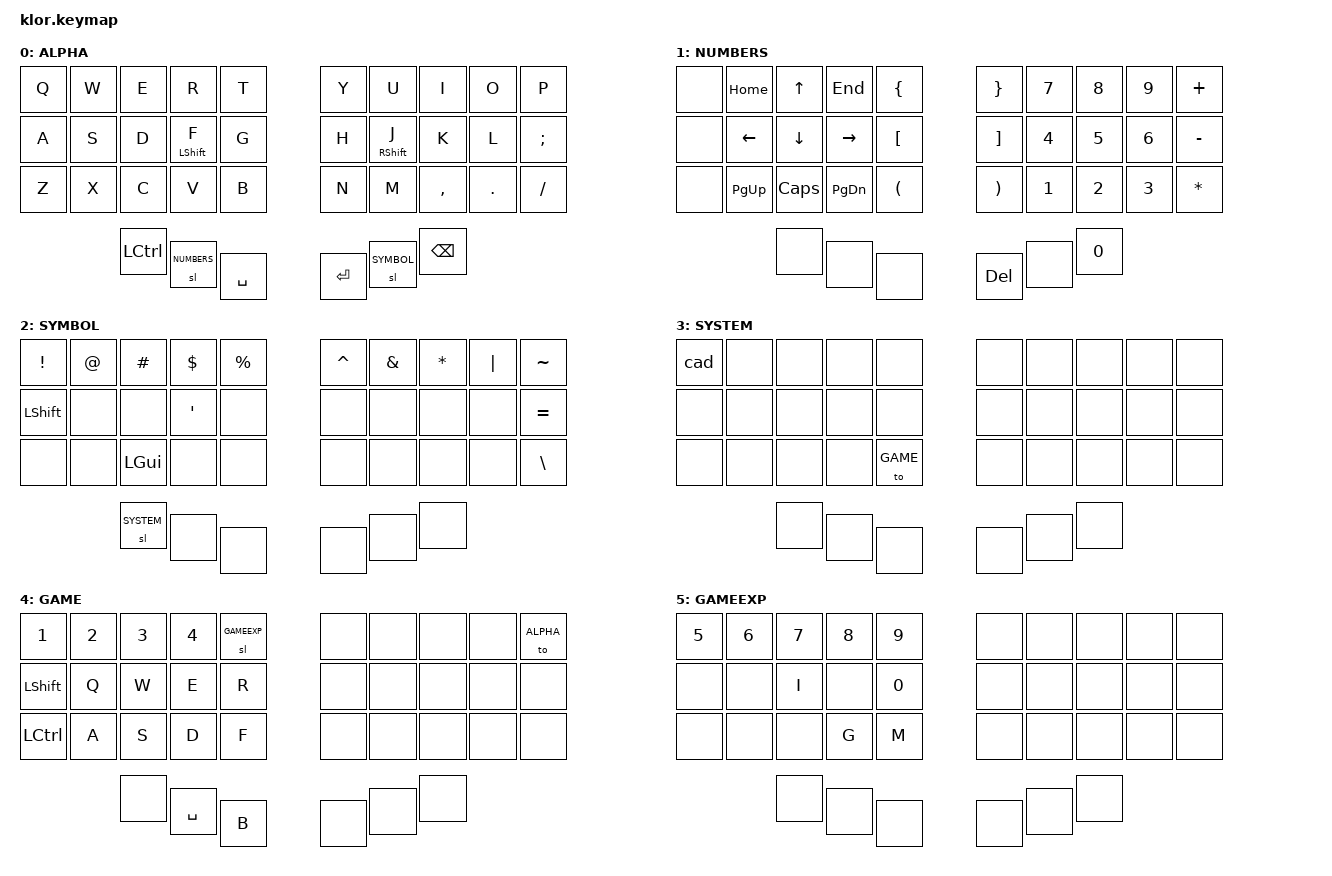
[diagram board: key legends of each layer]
#include <behaviors.dtsi>
#include <dt-bindings/zmk/keys.h>
#include <dt-bindings/zmk/bt.h>
#include <dt-bindings/zmk/outputs.h>

#define ALPHA   0
#define NUMBERS 1
#define SYMBOL  2
#define SYSTEM  3
#define GAME    4
#define GAMEEXP 5

/ {
    behaviors {
        hm: homerow_mods {
            compatible = "zmk,behavior-hold-tap";
            label = "HOMEROW_MODS";
            #binding-cells = <2>;
            tapping-term-ms = <250>;
            quick_tap_ms = <100>;
            flavor = "tap-preferred";
            bindings = <&kp>, <&kp>;
        };
        cad: ctrl_alt_del {
            compatible = "zmk,behavior-macro";
            #binding-cells = <0>;
            bindings = <&macro_press &kp LCTRL &kp LALT>
                     , <&macro_tap &kp DEL>
                     , <&macro_release &kp LCTRL &kp LALT>;
        };
    };

    combos {
        compatible = "zmk,combos";
        combo_esc {
            timeout-ms = <50>;
            key-positions = <0 1>;
            bindings = <&kp ESC>;
        };
    };

    keymap {
        compatible = "zmk,keymap";

// ▄▄▄▄▄▄▄▄▄▄▄▄▄▄▄▄▄▄▄▄▄▄▄▄▄▄▄▄▄▄▄▄▄▄▄▄▄▄▄▄▄▄▄▄▄▄▄▄▄▄▄▄▄▄▄▄▄▄▄▄▄▄▄▄▄▄▄▄▄▄▄▄▄▄▄▄

        alpha_layer {
// ┌───────────────────────────────────────────────────────────┐
display-name = "ALPHA";
// └───────────────────────────────────────────────────────────┘
/*        ┌─────────┬─────────┬─────────┬─────────┬─────────┐                    ┌─────────┬─────────┬─────────┬─────────┬─────────┐
          │    Q    │    W    │    E    │    R    │    T    │                    │    Y    │    U    │    I    │    O    │    P    │
          ├─────────┼─────────┼─────────┼─────────┼─────────┤                    ├─────────┼─────────┼─────────┼─────────┼─────────┤
          │    A    │    S    │    D    │  F/SHF  │    G    │                    │    H    │  J/SHF  │    K    │    L    │    ;    │
          ├─────────┼─────────┼─────────┼─────────┼─────────┤                    ├─────────┼─────────┼─────────┼─────────┼─────────┤
          │    Z    │    X    │    C    │    V    │    B    │                    │    N    │    M    │    ,    │    .    │    /    │
          └─────────┴─────────┴─────────┼─────────┼─────────┼─────────┐          ┌─────────┼─────────┼─────────┼─────────┴─────────┘
                                        │  CTRL   │ NUMBERS │  SPACE  │          │  ENTER  │ SYMBOL  │  BSPC   │
                                        └─────────┴─────────┴─────────┘          └─────────┴─────────┴─────────┘ */
            bindings = <
  &kp Q     &kp W     &kp E     &kp R     &kp T                          &kp Y     &kp U     &kp I     &kp O     &kp P
  &kp A     &kp S     &kp D   &hm LSHFT F &kp G                          &kp H   &hm RSHFT J &kp K     &kp L     &kp SEMI
  &kp Z     &kp X     &kp C     &kp V     &kp B                          &kp N     &kp M     &kp COMMA &kp DOT   &kp FSLH
                      &kp LCTRL &sl NUMBERS &kp SPACE                    &kp RET   &sl SYMBOL &kp BSPC
            >;
        };

// ▄▄▄▄▄▄▄▄▄▄▄▄▄▄▄▄▄▄▄▄▄▄▄▄▄▄▄▄▄▄▄▄▄▄▄▄▄▄▄▄▄▄▄▄▄▄▄▄▄▄▄▄▄▄▄▄▄▄▄▄▄▄▄▄▄▄▄▄▄▄▄▄▄▄▄▄

        numbers_layer {
// ┌───────────────────────────────────────────────────────────┐
display-name = "NUMBERS";
// └───────────────────────────────────────────────────────────┘
/*        ┌─────────┬─────────┬─────────┬─────────┬─────────┐                    ┌─────────┬─────────┬─────────┬─────────┬─────────┐
          │         │  home   │   UP    │   end   │    {    │                    │    }    │    7    │    8    │    9    │    +    │
          ├─────────┼─────────┼─────────┼─────────┼─────────┤                    ├─────────┼─────────┼─────────┼─────────┼─────────┤
          │         │  LEFT   │  DOWN   │  RIGHT  │    [    │                    │    ]    │    4    │    5    │    6    │    -    │
          ├─────────┼─────────┼─────────┼─────────┼─────────┤                    ├─────────┼─────────┼─────────┼─────────┼─────────┤
          │         │  PG UP  │  CAPS   │  PG DN  │    (    │                    │    )    │    1    │    2    │    3    │    *    │
          └─────────┴─────────┴─────────┼─────────┼─────────┼─────────┐          ┌─────────┼─────────┼─────────┼─────────┴─────────┘
                                        │         │         │         │          │   DEL   │    0    │         │
                                        └─────────┴─────────┴─────────┘          └─────────┴─────────┴─────────┘ */
            bindings = <
  &none     &kp HOME  &kp UP    &kp END     &kp LBRC                        &kp RBRC  &kp N7    &kp N8    &kp N9    &kp PLUS
  &none     &kp LEFT  &kp DOWN  &kp RIGHT &kp LBKT                        &kp RBKT  &kp N4    &kp N5    &kp N6    &kp MINUS
  &none     &kp PG_UP &kp CAPS  &kp PG_DN &kp LPAR                        &kp RPAR  &kp N1    &kp N2    &kp N3    &kp ASTRK
                      &none     &none     &none                           &kp DEL   &none    &kp N0
            >;
        };

// ▄▄▄▄▄▄▄▄▄▄▄▄▄▄▄▄▄▄▄▄▄▄▄▄▄▄▄▄▄▄▄▄▄▄▄▄▄▄▄▄▄▄▄▄▄▄▄▄▄▄▄▄▄▄▄▄▄▄▄▄▄▄▄▄▄▄▄▄▄▄▄▄▄▄▄▄

        symbol_layer {
// ┌───────────────────────────────────────────────────────────┐
display-name = "SYMBOL";
// └───────────────────────────────────────────────────────────┘
/*        ┌─────────┬─────────┬─────────┬─────────┬─────────┐                    ┌─────────┬─────────┬─────────┬─────────┬─────────┐
          │    !    │    @    │    #    │    $    │    %    │                    │    ^    │    &    │    *    │    |    │    ~    │
          ├─────────┼─────────┼─────────┼─────────┼─────────┤                    ├─────────┼─────────┼─────────┼─────────┼─────────┤
          │  SHIFT  │         │         │    '    │         │                    │         │         │         │         │    =    │
          ├─────────┼─────────┼─────────┼─────────┼─────────┤                    ├─────────┼─────────┼─────────┼─────────┼─────────┤
          │         │         │ WIN/SUP │         │         │                    │         │         │         │         │    \    │
          └─────────┴─────────┴─────────┼─────────┼─────────┼─────────┐          ┌─────────┼─────────┼─────────┼─────────┴─────────┘
                                        │ SYSTEM  │         │         │          │         │         │         │
                                        └─────────┴─────────┴─────────┘          └─────────┴─────────┴─────────┘ */
            bindings = <
  &kp EXCL  &kp AT    &kp HASH  &kp DLLR  &kp PRCNT                       &kp CARET &kp AMPS  &kp ASTRK &kp PIPE  &kp TILDE
  &kp LSHFT &none     &none     &kp SQT   &none                           &none     &none     &none     &none     &kp EQUAL
  &none     &none     &kp LGUI  &none     &none                           &none     &none     &none     &none     &kp BACKSLASH
                      &sl SYSTEM &none    &none                           &none     &none     &none
            >;
        };

// ▄▄▄▄▄▄▄▄▄▄▄▄▄▄▄▄▄▄▄▄▄▄▄▄▄▄▄▄▄▄▄▄▄▄▄▄▄▄▄▄▄▄▄▄▄▄▄▄▄▄▄▄▄▄▄▄▄▄▄▄▄▄▄▄▄▄▄▄▄▄▄▄▄▄▄▄

        system_layer {
// ┌───────────────────────────────────────────────────────────┐
display-name = "SYSTEM";
// └───────────────────────────────────────────────────────────┘
/*        ┌─────────┬─────────┬─────────┬─────────┬─────────┐                    ┌─────────┬─────────┬─────────┬─────────┬─────────┐
          │   CAD   │         │         │         │         │                    │         │         │         │         │         │
          ├─────────┼─────────┼─────────┼─────────┼─────────┤                    ├─────────┼─────────┼─────────┼─────────┼─────────┤
          │         │         │         │         │         │                    │         │         │         │         │         │
          ├─────────┼─────────┼─────────┼─────────┼─────────┤                    ├─────────┼─────────┼─────────┼─────────┼─────────┤
          │         │         │         │         │  GAME   │                    │         │         │         │         │         │
          └─────────┴─────────┴─────────┼─────────┼─────────┼─────────┐          ┌─────────┼─────────┼─────────┼─────────┴─────────┘
                                        │         │         │         │          │         │         │         │
                                        └─────────┴─────────┴─────────┘          └─────────┴─────────┴─────────┘ */
            bindings = <
  &cad     &none    &none     &none     &none                          &none     &none     &none     &none     &none
  &none    &none    &none     &none     &none                          &none     &none     &none     &none     &none
  &none    &none    &none     &none     &to GAME                       &none     &none     &none     &none     &none
                    &none     &none     &none                          &none     &none     &none
            >;
        };

// ▄▄▄▄▄▄▄▄▄▄▄▄▄▄▄▄▄▄▄▄▄▄▄▄▄▄▄▄▄▄▄▄▄▄▄▄▄▄▄▄▄▄▄▄▄▄▄▄▄▄▄▄▄▄▄▄▄▄▄▄▄▄▄▄▄▄▄▄▄▄▄▄▄▄▄▄

        game_layer {
// ┌───────────────────────────────────────────────────────────┐
display-name = "GAME";
// └───────────────────────────────────────────────────────────┘
/*        ┌─────────┬─────────┬─────────┬─────────┬─────────┐                    ┌─────────┬─────────┬─────────┬─────────┬─────────┐
          │    1    │    2    │    3    │    4    │  GAMEEXP│                    │         │         │         │         │  ALPHA  │
          ├─────────┼─────────┼─────────┼─────────┼─────────┤                    ├─────────┼─────────┼─────────┼─────────┼─────────┤
          │  SHIFT  │    Q    │    W    │    E    │    R    │                    │         │         │         │         │         │
          ├─────────┼─────────┼─────────┼─────────┼─────────┤                    ├─────────┼─────────┼─────────┼─────────┼─────────┤
          │  CTRL   │    A    │    S    │    D    │    F    │                    │         │         │         │         │         │
          └─────────┴─────────┴─────────┼─────────┼─────────┼─────────┐          ┌─────────┼─────────┼─────────┼─────────┴─────────┘
                                        │         │  SPACE  │    B    │          │         │         │         │
                                        └─────────┴─────────┴─────────┘          └─────────┴─────────┴─────────┘ */
            bindings = <
  &kp N1    &kp N2    &kp N3    &kp N4    &sl GAMEEXP                    &none     &none     &none     &none     &to ALPHA
  &kp LSHFT &kp Q     &kp W     &kp E     &kp R                          &none     &none     &none     &none     &none
  &kp LCTRL &kp A     &kp S     &kp D     &kp F                          &none     &none     &none     &none     &none
                      &none     &kp SPACE &kp B                          &none     &none     &none
            >;
        };

// ▄▄▄▄▄▄▄▄▄▄▄▄▄▄▄▄▄▄▄▄▄▄▄▄▄▄▄▄▄▄▄▄▄▄▄▄▄▄▄▄▄▄▄▄▄▄▄▄▄▄▄▄▄▄▄▄▄▄▄▄▄▄▄▄▄▄▄▄▄▄▄▄▄▄▄▄

        gameexp_layer {
// ┌───────────────────────────────────────────────────────────┐
display-name = "GAMEEXP";
// └───────────────────────────────────────────────────────────┘
/*        ┌─────────┬─────────┬─────────┬─────────┬─────────┐                    ┌─────────┬─────────┬─────────┬─────────┬─────────┐
          │    5    │    6    │    7    │    8    │    9    │                    │         │         │         │         │         │
          ├─────────┼─────────┼─────────┼─────────┼─────────┤                    ├─────────┼─────────┼─────────┼─────────┼─────────┤
          │         │         │    I    │         │    0    │                    │         │         │         │         │         │
          ├─────────┼─────────┼─────────┼─────────┼─────────┤                    ├─────────┼─────────┼─────────┼─────────┼─────────┤
          │         │         │         │    G    │    M    │                    │         │         │         │         │         │
          └─────────┴─────────┴─────────┼─────────┼─────────┼─────────┐          ┌─────────┼─────────┼─────────┼─────────┴─────────┘
                                        │         │         │         │          │         │         │         │
                                        └─────────┴─────────┴─────────┘          └─────────┴─────────┴─────────┘ */
            bindings = <
  &kp N5    &kp N6    &kp N7    &kp N8    &kp N9                         &none     &none     &none     &none     &none
  &none     &none     &kp I     &none     &kp N0                         &none     &none     &none     &none     &none
  &none     &none     &none     &kp G     &kp M                          &none     &none     &none     &none     &none
                      &none     &none     &none                          &none     &none     &none
            >;
        };

        extra1  { status = "reserved"; };
        extra2  { status = "reserved"; };
        extra3  { status = "reserved"; };
        extra4  { status = "reserved"; };
        extra5  { status = "reserved"; };
        extra6  { status = "reserved"; };
        extra7  { status = "reserved"; };
        extra8  { status = "reserved"; };
        extra9  { status = "reserved"; };
        extra10 { status = "reserved"; };
        extra11 { status = "reserved"; };
        extra12 { status = "reserved"; };
        extra13 { status = "reserved"; };
        extra14 { status = "reserved"; };
        extra15 { status = "reserved"; };
    };
};
